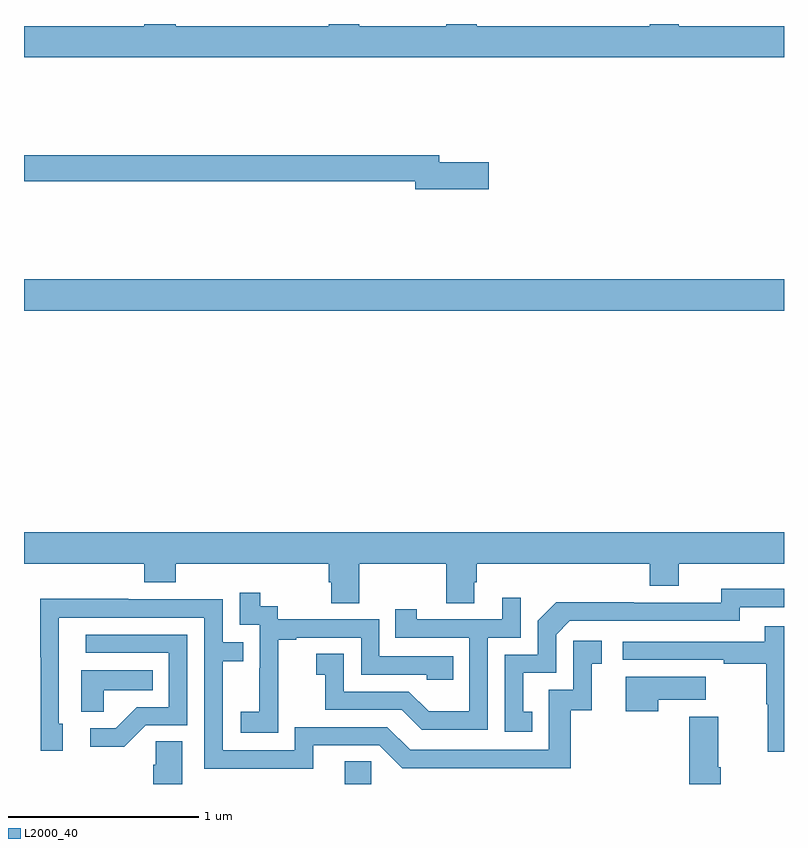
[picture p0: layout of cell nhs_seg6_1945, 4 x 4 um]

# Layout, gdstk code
import gdstk
lib = gdstk.Library(unit=1e-6, precision=1e-09)
def R(c, l, rs):  # rectangles x0, y0, x1, y1
    for r in rs: c.add(gdstk.rectangle(r[:2], r[2:], *l))
def P(c, l, *ps):  # polygons
    for p in ps: c.add(gdstk.Polygon(p, *l))
L2000_40 = (2000, 40)

nhs_seg6_1945 = lib.new_cell('nhs_seg6_1945')
R(nhs_seg6_1945, L2000_40, [(228.689,955.5,228.828,955.619), (227,957.992,231,958.156)])
P(nhs_seg6_1945, L2000_40, [(231,959.488),(230.446,959.488),(230.446,959.5),(230.294,959.5),(230.294,959.488),(229.382,959.488),(229.382,959.5),(229.222,959.5),(229.222,959.488),(228.765,959.488),(228.765,959.5),(228.605,959.5),(228.605,959.488),(227.798,959.488),(227.798,959.5),(227.633,959.5),(227.633,959.488),(227,959.488),(227,959.324),(231,959.324)],
  [(229.447,958.772),(229.186,958.772),(229.186,958.808),(227,958.808),(227,958.672),(229.058,958.672),(229.058,958.63),(229.447,958.63)],
  [(228.765,956.66),(229.222,956.66),(229.222,956.452),(229.369,956.452),(229.369,956.562),(229.382,956.562),(229.382,956.66),(230.294,956.66),(230.294,956.543),(230.446,956.543),(230.446,956.66),(231,956.66),(231,956.824),(227,956.824),(227,956.66),(227.633,956.66),(227.633,956.561),(227.798,956.561),(227.798,956.66),(228.605,956.66),(228.605,956.562),(228.617,956.562),(228.617,956.452),(228.765,956.452)],
  [(229.676,955.881),(229.627,955.881),(229.627,956.085),(229.8,956.085),(229.8,956.286),(229.872,956.358),(230.766,956.358),(230.766,956.43),(231,956.43),(231,956.527),(230.67,956.527),(230.67,956.454),(230.21,956.454),(230.21,956.456),(229.802,956.456),(229.704,956.358),(229.704,956.181),(229.53,956.181),(229.53,955.776),(229.676,955.776)],
  [(228.339,955.975),(228.338,955.975),(228.338,956.259),(228.433,956.259),(228.433,956.271),(228.774,956.271),(228.774,956.076),(229.119,956.076),(229.119,956.049),(229.259,956.049),(229.259,956.172),(228.87,956.172),(228.87,956.367),(228.336,956.367),(228.336,956.436),(228.244,956.436),(228.244,956.506),(228.135,956.506),(228.135,956.337),(228.24,956.337),(228.24,956.108),(228.239,956.108),(228.239,955.879),(228.141,955.879),(228.141,955.769),(228.339,955.769)],
  [(229.44,956.271),(229.614,956.271),(229.614,956.479),(229.517,956.479),(229.517,956.367),(229.066,956.367),(229.066,956.419),(228.955,956.419),(228.955,956.271),(229.344,956.271),(229.344,955.882),(229.13,955.882),(229.026,955.986),(228.684,955.986),(228.684,956.185),(228.537,956.185),(228.537,956.075),(228.586,956.075),(228.586,955.89),(228.989,955.89),(229.094,955.785),(229.44,955.785)],
  [(228.523,955.704),(228.87,955.704),(228.99,955.584),(229.877,955.584),(229.877,955.887),(229.988,955.887),(229.988,956.133),(230.041,956.133),(230.041,956.254),(229.89,956.254),(229.89,955.995),(229.761,955.995),(229.761,955.68),(229.032,955.68),(228.912,955.8),(228.426,955.8),(228.426,955.677),(228.045,955.677),(228.045,956.146),(228.155,956.146),(228.155,956.247),(228.045,956.247),(228.045,956.472),(227.549,956.472),(227.549,956.474),(227.086,956.474),(227.086,956.167),(227.088,956.167),(227.088,955.674),(227.203,955.674),(227.203,955.818),(227.184,955.818),(227.184,956.376),(227.949,956.376),(227.949,955.581),(228.523,955.581)],
  [(231,956.329),(230.899,956.329),(230.899,956.25),(230.151,956.25),(230.151,956.154),(230.683,956.154),(230.683,956.134),(230.907,956.134),(230.907,955.92),(230.914,955.92),(230.914,955.671),(231,955.671)],
  [(227.64,955.809),(227.859,955.809),(227.859,956.286),(227.325,956.286),(227.325,956.19),(227.763,956.19),(227.763,955.905),(227.594,955.905),(227.483,955.794),(227.349,955.794),(227.349,955.697),(227.527,955.697)],
  [(227.421,955.994),(227.678,955.994),(227.678,956.098),(227.3,956.098),(227.3,955.879),(227.421,955.879)],
  [(230.339,955.943),(230.587,955.943),(230.587,956.065),(230.168,956.065),(230.168,955.884),(230.339,955.884)],
  [(230.666,955.588),(230.653,955.588),(230.653,955.855),(230.501,955.855),(230.501,955.5),(230.666,955.5)],
  [(227.833,955.724),(227.694,955.724),(227.694,955.601),(227.681,955.601),(227.681,955.5),(227.833,955.5)])

lib.write_gds('nhs_seg6_1945.gds')
